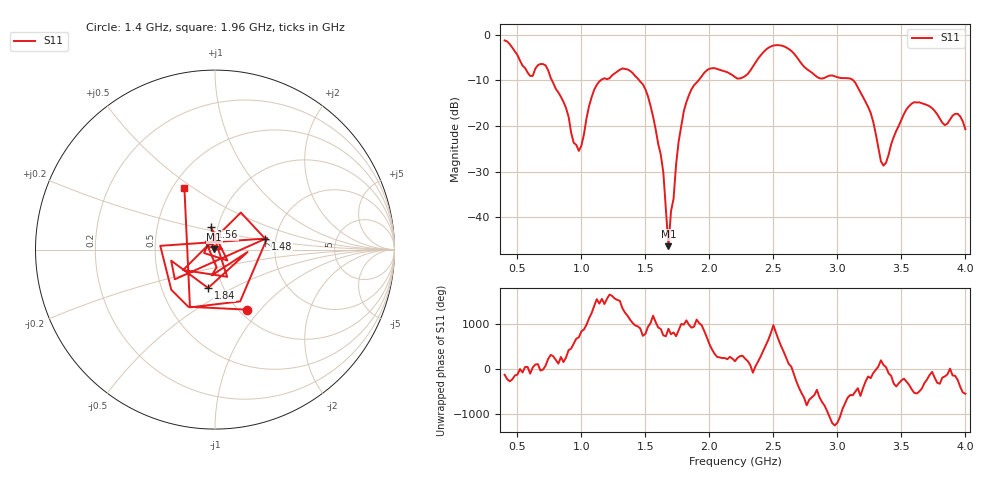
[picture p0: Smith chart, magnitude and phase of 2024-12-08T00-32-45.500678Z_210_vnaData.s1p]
!Created with skrf (http://scikit-rf.org).
# Hz S RI R 50.0
!freq ReS11 ImS11
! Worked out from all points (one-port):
!   181 points, 400 MHz to 4 GHz, reference 50 ohm
!   lowest |S11| = -46.3 dB at 1.68 GHz (marker M1), VSWR 1.01, Z = 49.5 + j0.09 ohm
!   |S11| at or under -10 dB: 769.3 MHz to 1.152 GHz (382.3 MHz wide, 39.8 % of centre); 1.451 GHz to 1.916 GHz (464.7 MHz wide, 27.6 % of centre); 3.123 GHz to end of sweep
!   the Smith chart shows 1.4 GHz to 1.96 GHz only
!   S11 on the Smith chart (normalised r, x): 1.4 GHz: 1.09, -0.85; 1.48 GHz: 1.75, +0.23; 1.56 GHz: 0.93, +0.24; 1.84 GHz: 0.85, -0.38; 1.96 GHz: 0.57, +0.46
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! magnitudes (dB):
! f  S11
! 400 MHz  -1.3
! 600 MHz  -9.1
! 720 MHz  -6.7
! 860 MHz  -14.7
! 980 MHz  -25.5
! 1.1 GHz  -12.1
! 1.3 GHz  -7.7
! 1.4 GHz  -8.4
! 1.48 GHz  -10.9
! 1.56 GHz  -18.0
! 1.64 GHz  -30.2
! 1.68 GHz  -46.3
! 1.7 GHz  -38.7
! 1.76 GHz  -23.4
! 1.84 GHz  -13.3
! 1.96 GHz  -8.4
! 2.2 GHz  -9.3
! 2.48 GHz  -2.6
! 2.66 GHz  -4.1
! 2.86 GHz  -9.6
! 3.1 GHz  -9.6
! 3.26 GHz  -17.1
! 3.36 GHz  -28.7
! 3.56 GHz  -15.7
! 3.72 GHz  -15.7
! 3.84 GHz  -19.8
! 3.94 GHz  -17.3
! 4 GHz  -20.7
